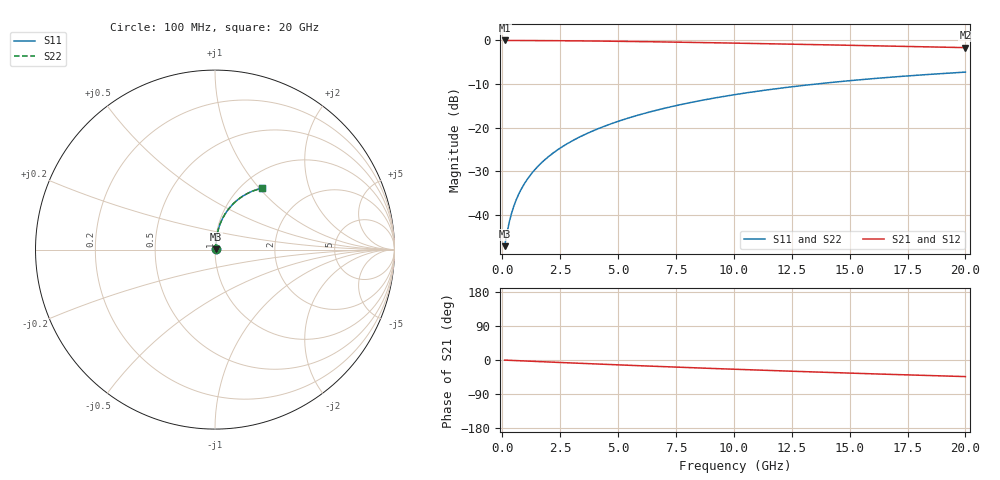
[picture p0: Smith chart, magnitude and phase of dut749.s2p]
! Touchstone file exported from HFSS 2024.1.0
!  File:  C:/UserFiles/LocalFiles/RDL_TSV_Batchsim/temp_RDL_top_749_1779851763.aedt
!  Generated:  11:18:28 AM May 27, 2026
!  Design:  RDL_top
!  Project:  temp_RDL_top_749_1779851763
!  Setup:  Setup1
!  Solution:  Sweep
! Variables:
!  dtsv = 10.80580581um
!  hbump = 3um
!  htsv = 89.63um
!  ldown = 100um
!  lrdl = 570.85um
!  p = 40
!  p1 = 56.65um
!  rhole = 1um
!  t = 450um
!  tdown = 3.915915916um
!  trdl = 2.93um
!  wdown = 15.38538539um
!  wrdl = 19.97um
# GHz S MA R 50.000000
! Terminal data exported
! Port[1] = Box2_T1
! Port[2] = Box2_T2
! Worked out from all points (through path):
!   200 points, 100 MHz to 20 GHz, reference 50 ohm
!   highest |S21| = -0.03 dB at 100 MHz (marker M1); lowest = -1.7 dB at 20 GHz (marker M2)
!   group delay of S21, straight-line fit = 6.06 ps
!   lowest |S11| = -47.1 dB at 100 MHz (marker M3), VSWR 1.01, Z = 50.4 + j0.251 ohm
!   |S11| at or under -10 dB: start of sweep to 13.55 GHz
!   |S22| runs from -47.1 to -7.3 dB; largest |S21 - S12| = 5.4e-15
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0.1  0.004427 34.3  0.9963 -0.3  0.9963 -0.3  0.004427 34.3
! Gamma 0 0 0 0
! Port Impedance 50 0 50 0
0.2  0.006225 52.7  0.9962 -0.5  0.9962 -0.5  0.006225 52.7
0.3  0.008335 61.9  0.996 -0.8  0.996 -0.8  0.008335 61.9
0.4  0.01053 67.1  0.9958 -1.1  0.9958 -1.1  0.01053 67.1
0.5  0.01274 70.5  0.9956 -1.3  0.9956 -1.3  0.01274 70.5
0.6  0.01497 72.9  0.9954 -1.6  0.9954 -1.6  0.01497 72.9
0.8  0.01944 76.1  0.995 -2.1  0.995 -2.1  0.01944 76.1
1.1  0.02621 78.8  0.9944 -2.9  0.9944 -2.9  0.02621 78.8
1.3  0.03077 79.9  0.9939 -3.4  0.9939 -3.4  0.03077 79.9
1.6  0.03765 81.0  0.9931 -4.2  0.9931 -4.2  0.03765 81.0
2.1  0.04922 81.9  0.9914 -5.5  0.9914 -5.5  0.04922 81.9
2.7  0.06327 82.2  0.9888 -7.1  0.9888 -7.1  0.06327 82.2
3.5  0.08224 82.0  0.9846 -9.1  0.9846 -9.1  0.08223 81.9
4.2  0.09903 81.4  0.9802 -10.9  0.9802 -10.9  0.09901 81.3
5  0.1184 80.4  0.9745 -12.8  0.9745 -12.8  0.1183 80.4
5.9  0.1403 79.1  0.9675 -15.0  0.9675 -15.0  0.1402 79.0
6.8  0.1622 77.6  0.9598 -17.2  0.9598 -17.2  0.1621 77.5
8.4  0.2008 74.6  0.945 -20.8  0.945 -20.8  0.2007 74.6
10.1  0.2407 71.3  0.9283 -24.6  0.9283 -24.6  0.2406 71.3
13.4  0.3132 64.7  0.8942 -31.5  0.8942 -31.5  0.313 64.7
16.7  0.3774 58.3  0.8593 -37.8  0.8593 -37.8  0.3772 58.3
20  0.4327 52.4  0.825 -43.8  0.825 -43.8  0.4324 52.3
